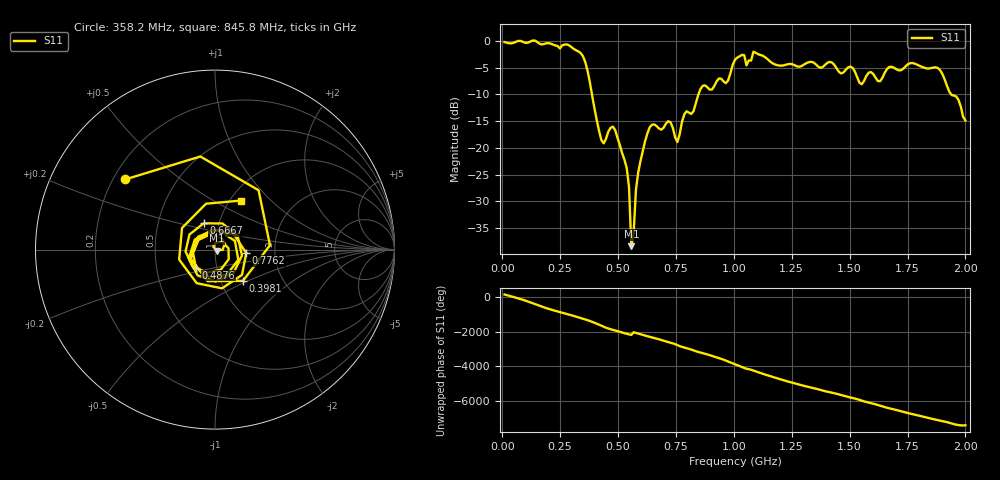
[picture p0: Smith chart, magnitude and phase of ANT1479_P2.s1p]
!Created with skrf (http://scikit-rf.org).
# Hz S RI R 50.0
!freq ReS11 ImS11
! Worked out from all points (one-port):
!   201 points, 10 MHz to 2 GHz, reference 50 ohm
!   lowest |S11| = -38.4 dB at 557.2 MHz (marker M1), VSWR 1.02, Z = 51 - j0.664 ohm
!   |S11| at or under -10 dB: 387.1 MHz to 847.3 MHz (460.2 MHz wide, 74.6 % of centre); 1.938 GHz to end of sweep
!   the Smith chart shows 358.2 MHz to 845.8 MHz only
!   S11 on the Smith chart (normalised r, x): 358.2 MHz: 0.25, +0.33; 398.1 MHz: 1.27, -0.47; 487.6 MHz: 0.79, -0.16; 666.7 MHz: 0.85, +0.25; 776.1 MHz: 1.42, -0.05; 845.8 MHz: 1.12, +0.68
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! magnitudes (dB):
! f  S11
! 10 MHz  -0.2
! 258.8 MHz  -0.9
! 358.2 MHz  -4.0
! 398.1 MHz  -12.6
! 437.9 MHz  -19.2
! 487.6 MHz  -16.7
! 507.5 MHz  -19.5
! 547.3 MHz  -27.3
! 557.2 MHz  -38.4
! 567.2 MHz  -35.9
! 577.1 MHz  -27.9
! 597 MHz  -22.4
! 636.9 MHz  -16.1
! 666.7 MHz  -15.9
! 726.4 MHz  -15.2
! 756.2 MHz  -18.9
! 776.1 MHz  -15.1
! 845.8 MHz  -10.2
! 965.2 MHz  -7.9
! 1.005 GHz  -3.6
! 1.055 GHz  -4.6
! 1.085 GHz  -2.1
! 1.254 GHz  -4.4
! 1.502 GHz  -4.8
! 1.552 GHz  -8.1
! 1.751 GHz  -4.4
! 1.891 GHz  -5.5
! 2 GHz  -14.9
